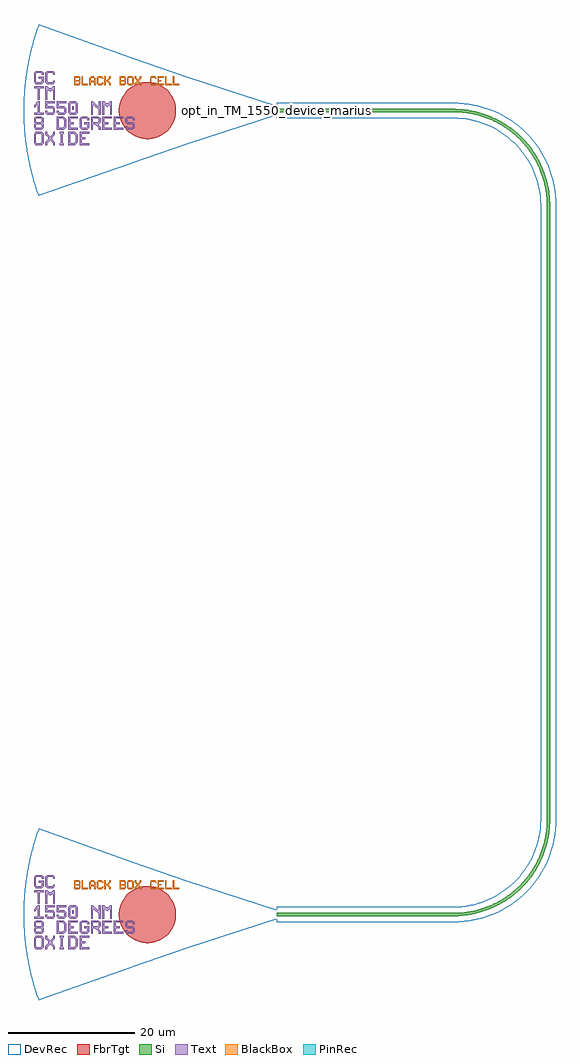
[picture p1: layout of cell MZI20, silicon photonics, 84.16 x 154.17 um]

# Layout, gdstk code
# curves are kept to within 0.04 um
import gdstk
lib = gdstk.Library(unit=1e-6, precision=1e-09)
def R(c, l, rs):  # rectangles x0, y0, x1, y1
    for r in rs: c.add(gdstk.rectangle(r[:2], r[2:], *l))
def P(c, l, *ps):  # polygons
    for p in ps: c.add(gdstk.Polygon(p, *l))
Si = (1, 0)
PinRec = (1, 10)
Text = (10, 0)
DevRec = (68, 0)
FbrTgt = (81, 0)
BlackBox = (998, 0)

text = lib.new_cell('TEXT')
P(text, BlackBox, [(0,0),(0,1.4),(0.8,1.4),(1,1.2),(0.2,1.2),(0.2,0.8),(0.7,0.8),(0.8,0.9),(0.8,1.1),(0.7,1.2),(1,1.2),(1,0.8),(0.9,0.7),(1,0.6),(0.2,0.6),(0.2,0.2),(0.7,0.2),(0.8,0.3),(0.8,0.5),(0.7,0.6),(1,0.6),(1,0.2),(0.8,0)],
  [(1.2,0),(1.2,1.4),(1.4,1.4),(1.4,0.2),(2.2,0.2),(2.2,0)],
  [(2.4,0),(2.4,1.1),(2.7,1.4),(3.1,1.4),(3.3,1.2),(2.8,1.2),(2.6,1),(2.6,0.7),(3.2,0.7),(3.2,1),(3,1.2),(3.3,1.2),(3.4,1.1),(3.4,0),(3.2,0),(3.2,0.5),(2.6,0.5),(2.6,0)],
  [(3.8,0),(3.6,0.2),(3.6,1.2),(3.8,1.4),(4.4,1.4),(4.6,1.2),(4.6,1),(4.4,1),(4.4,1.1),(4.3,1.2),(3.9,1.2),(3.8,1.1),(3.8,0.3),(3.9,0.2),(4.3,0.2),(4.4,0.3),(4.4,0.4),(4.6,0.4),(4.6,0.2),(4.4,0)],
  [(4.8,0),(4.8,1.4),(5,1.4),(5,0.8),(5.2,0.8),(5.6,1.2),(5.6,1.4),(5.8,1.4),(5.8,1.1),(5.4,0.7),(5.8,0.3),(5.8,0),(5.6,0),(5.6,0.2),(5.2,0.6),(5,0.6),(5,0)],
  [(7.2,0),(7.2,1.4),(8,1.4),(8.2,1.2),(7.4,1.2),(7.4,0.8),(7.9,0.8),(8,0.9),(8,1.1),(7.9,1.2),(8.2,1.2),(8.2,0.8),(8.1,0.7),(8.2,0.6),(7.4,0.6),(7.4,0.2),(7.9,0.2),(8,0.3),(8,0.5),(7.9,0.6),(8.2,0.6),(8.2,0.2),(8,0)],
  [(8.6,0),(8.4,0.2),(8.4,1.2),(8.6,1.4),(9.2,1.4),(9.4,1.2),(9.4,0.7),(9.2,0.7),(9.2,1.1),(9.1,1.2),(8.7,1.2),(8.6,1.1),(8.6,0.3),(8.7,0.2),(9.1,0.2),(9.2,0.3),(9.2,0.7),(9.4,0.7),(9.4,0.2),(9.2,0)],
  [(9.6,0),(9.6,0.3),(9.9,0.6),(9.9,0.8),(9.6,1.1),(9.6,1.4),(9.8,1.4),(9.8,1.2),(10.1,0.9),(10.4,1.2),(10.4,1.4),(10.6,1.4),(10.6,1.1),(10.3,0.8),(10.3,0.6),(10.6,0.3),(10.6,0),(10.4,0),(10.4,0.2),(10.1,0.5),(9.8,0.2),(9.8,0)],
  [(12.2,0),(12,0.2),(12,1.2),(12.2,1.4),(12.8,1.4),(13,1.2),(13,1),(12.8,1),(12.8,1.1),(12.7,1.2),(12.3,1.2),(12.2,1.1),(12.2,0.3),(12.3,0.2),(12.7,0.2),(12.8,0.3),(12.8,0.4),(13,0.4),(13,0.2),(12.8,0)],
  [(13.2,0),(13.2,1.4),(14.2,1.4),(14.2,1.2),(13.4,1.2),(13.4,0.8),(13.8,0.8),(13.8,0.6),(13.4,0.6),(13.4,0.2),(14.2,0.2),(14.2,0)],
  [(14.4,0),(14.4,1.4),(14.6,1.4),(14.6,0.2),(15.4,0.2),(15.4,0)],
  [(15.6,0),(15.6,1.4),(15.8,1.4),(15.8,0.2),(16.6,0.2),(16.6,0)])

gc_tm_1550_8degoxide_bb = lib.new_cell('GC_TM_1550_8degOxide_BB')
R(gc_tm_1550_8degoxide_bb, Text, [(-32.313,0.092,-32.013,0.692)])
P(gc_tm_1550_8degoxide_bb, Text, [(-37.713,1.742),(-37.713,3.542),(-38.313,3.542),(-38.313,3.842),(-36.813,3.842),(-36.813,3.542),(-37.413,3.542),(-37.413,1.742)],
  [(-38.013,-5.458),(-38.313,-5.158),(-38.313,-3.658),(-38.013,-3.358),(-37.113,-3.358),(-36.813,-3.658),(-36.813,-4.408),(-37.113,-4.408),(-37.113,-3.808),(-37.263,-3.658),(-37.863,-3.658),(-38.013,-3.808),(-38.013,-5.008),(-37.863,-5.158),(-37.263,-5.158),(-37.113,-5.008),(-37.113,-4.408),(-36.813,-4.408),(-36.813,-5.158),(-37.113,-5.458)],
  [(-31.113,-5.458),(-31.113,-3.358),(-29.613,-3.358),(-29.613,-3.658),(-30.813,-3.658),(-30.813,-4.258),(-30.213,-4.258),(-30.213,-4.558),(-30.813,-4.558),(-30.813,-5.158),(-29.613,-5.158),(-29.613,-5.458)],
  [(-32.913,-3.058),(-32.913,-0.958),(-31.413,-0.958),(-31.413,-1.258),(-32.613,-1.258),(-32.613,-1.858),(-32.013,-1.858),(-32.013,-2.158),(-32.613,-2.158),(-32.613,-2.758),(-31.413,-2.758),(-31.413,-3.058)],
  [(-27.513,-3.058),(-27.513,-0.958),(-26.013,-0.958),(-26.013,-1.258),(-27.213,-1.258),(-27.213,-1.858),(-26.613,-1.858),(-26.613,-2.158),(-27.213,-2.158),(-27.213,-2.758),(-26.013,-2.758),(-26.013,-3.058)],
  [(-25.713,-3.058),(-25.713,-0.958),(-24.213,-0.958),(-24.213,-1.258),(-25.413,-1.258),(-25.413,-1.858),(-24.813,-1.858),(-24.813,-2.158),(-25.413,-2.158),(-25.413,-2.758),(-24.213,-2.758),(-24.213,-3.058)],
  [(-29.313,-0.658),(-29.313,1.442),(-29.013,1.442),(-28.263,0.692),(-28.113,0.692),(-28.113,1.442),(-27.813,1.442),(-27.813,-0.658),(-28.113,-0.658),(-28.113,0.092),(-28.863,0.842),(-29.013,0.842),(-29.013,-0.658)],
  [(-34.263,-5.458),(-34.263,-5.158),(-34.113,-5.158),(-34.113,-3.658),(-34.263,-3.658),(-34.263,-3.358),(-33.663,-3.358),(-33.663,-3.658),(-33.813,-3.658),(-33.813,-5.158),(-33.663,-5.158),(-33.663,-5.458)],
  [(-36.213,4.142),(-36.513,4.442),(-36.513,5.942),(-36.213,6.242),(-35.313,6.242),(-35.013,5.942),(-35.013,5.642),(-35.313,5.642),(-35.313,5.792),(-35.463,5.942),(-36.063,5.942),(-36.213,5.792),(-36.213,4.592),(-36.063,4.442),(-35.463,4.442),(-35.313,4.592),(-35.313,4.742),(-35.013,4.742),(-35.013,4.442),(-35.313,4.142)],
  [(-27.513,-0.658),(-27.513,1.442),(-27.213,1.442),(-26.913,1.142),(-26.613,1.142),(-26.313,1.442),(-26.013,1.442),(-26.013,-0.658),(-26.313,-0.658),(-26.313,0.842),(-26.463,0.842),(-26.763,0.542),(-27.063,0.842),(-27.213,0.842),(-27.213,-0.658)],
  [(-36.513,1.742),(-36.513,3.842),(-36.213,3.842),(-35.913,3.542),(-35.613,3.542),(-35.313,3.842),(-35.013,3.842),(-35.013,1.742),(-35.313,1.742),(-35.313,3.242),(-35.463,3.242),(-35.763,2.942),(-36.063,3.242),(-36.213,3.242),(-36.213,1.742)],
  [(-32.613,-0.658),(-32.913,-0.358),(-32.913,1.142),(-32.613,1.442),(-31.713,1.442),(-31.413,1.142),(-32.463,1.142),(-32.613,0.992),(-32.613,-0.208),(-32.463,-0.358),(-31.863,-0.358),(-31.713,-0.208),(-31.713,0.992),(-31.863,1.142),(-31.413,1.142),(-31.413,-0.358),(-31.713,-0.658)],
  [(-32.913,-5.458),(-32.913,-3.358),(-31.863,-3.358),(-31.563,-3.658),(-32.613,-3.658),(-32.613,-5.158),(-32.013,-5.158),(-31.713,-4.858),(-31.713,-3.958),(-32.013,-3.658),(-31.563,-3.658),(-31.413,-3.808),(-31.413,-5.008),(-31.863,-5.458)],
  [(-34.713,-3.058),(-34.713,-0.958),(-33.663,-0.958),(-33.363,-1.258),(-34.413,-1.258),(-34.413,-2.758),(-33.813,-2.758),(-33.513,-2.458),(-33.513,-1.558),(-33.813,-1.258),(-33.363,-1.258),(-33.213,-1.408),(-33.213,-2.608),(-33.663,-3.058)],
  [(-23.613,-3.058),(-23.913,-2.758),(-23.913,-2.458),(-23.613,-2.458),(-23.613,-2.608),(-23.463,-2.758),(-22.863,-2.758),(-22.713,-2.608),(-22.713,-2.308),(-22.863,-2.158),(-23.613,-2.158),(-23.913,-1.858),(-23.913,-1.258),(-23.613,-0.958),(-22.713,-0.958),(-22.413,-1.258),(-22.413,-1.558),(-22.713,-1.558),(-22.713,-1.408),(-22.863,-1.258),(-23.463,-1.258),(-23.613,-1.408),(-23.613,-1.708),(-23.463,-1.858),(-22.713,-1.858),(-22.413,-2.158),(-22.413,-2.758),(-22.713,-3.058)],
  [(-36.213,-0.658),(-36.513,-0.358),(-36.513,-0.058),(-36.213,-0.058),(-36.213,-0.208),(-36.063,-0.358),(-35.463,-0.358),(-35.313,-0.208),(-35.313,0.242),(-35.463,0.392),(-36.513,0.392),(-36.513,1.442),(-35.013,1.442),(-35.013,1.142),(-36.213,1.142),(-36.213,0.692),(-35.313,0.692),(-35.013,0.392),(-35.013,-0.358),(-35.313,-0.658)],
  [(-34.413,-0.658),(-34.713,-0.358),(-34.713,-0.058),(-34.413,-0.058),(-34.413,-0.208),(-34.263,-0.358),(-33.663,-0.358),(-33.513,-0.208),(-33.513,0.242),(-33.663,0.392),(-34.713,0.392),(-34.713,1.442),(-33.213,1.442),(-33.213,1.142),(-34.413,1.142),(-34.413,0.692),(-33.513,0.692),(-33.213,0.392),(-33.213,-0.358),(-33.513,-0.658)],
  [(-38.013,-3.058),(-38.313,-2.758),(-38.313,-2.158),(-38.163,-2.008),(-38.313,-1.858),(-38.313,-1.258),(-38.013,-0.958),(-37.113,-0.958),(-36.813,-1.258),(-37.863,-1.258),(-38.013,-1.408),(-38.013,-1.708),(-37.863,-1.858),(-37.263,-1.858),(-37.113,-1.708),(-37.113,-1.408),(-37.263,-1.258),(-36.813,-1.258),(-36.813,-1.858),(-36.963,-2.008),(-36.813,-2.158),(-37.863,-2.158),(-38.013,-2.308),(-38.013,-2.608),(-37.863,-2.758),(-37.263,-2.758),(-37.113,-2.608),(-37.113,-2.308),(-37.263,-2.158),(-36.813,-2.158),(-36.813,-2.758),(-37.113,-3.058)],
  [(-38.313,-0.658),(-38.313,-0.358),(-37.713,-0.358),(-37.713,0.842),(-37.863,0.842),(-38.163,0.542),(-38.313,0.542),(-38.313,0.842),(-37.713,1.442),(-37.413,1.442),(-37.413,-0.358),(-36.813,-0.358),(-36.813,-0.658)],
  [(-36.513,-5.458),(-36.513,-5.008),(-36.063,-4.558),(-36.063,-4.258),(-36.513,-3.808),(-36.513,-3.358),(-36.213,-3.358),(-36.213,-3.658),(-35.763,-4.108),(-35.313,-3.658),(-35.313,-3.358),(-35.013,-3.358),(-35.013,-3.808),(-35.463,-4.258),(-35.463,-4.558),(-35.013,-5.008),(-35.013,-5.458),(-35.313,-5.458),(-35.313,-5.158),(-35.763,-4.708),(-36.213,-5.158),(-36.213,-5.458)],
  [(-30.813,-3.058),(-31.113,-2.758),(-31.113,-1.258),(-30.813,-0.958),(-29.913,-0.958),(-29.613,-1.258),(-29.613,-1.558),(-29.913,-1.558),(-29.913,-1.408),(-30.063,-1.258),(-30.663,-1.258),(-30.813,-1.408),(-30.813,-2.608),(-30.663,-2.758),(-30.063,-2.758),(-29.913,-2.608),(-29.913,-2.158),(-30.363,-2.158),(-30.363,-1.858),(-29.613,-1.858),(-29.613,-2.758),(-29.913,-3.058)],
  [(-38.013,4.142),(-38.313,4.442),(-38.313,5.942),(-38.013,6.242),(-37.113,6.242),(-36.813,5.942),(-36.813,5.642),(-37.113,5.642),(-37.113,5.792),(-37.263,5.942),(-37.863,5.942),(-38.013,5.792),(-38.013,4.592),(-37.863,4.442),(-37.263,4.442),(-37.113,4.592),(-37.113,5.042),(-37.563,5.042),(-37.563,5.342),(-36.813,5.342),(-36.813,4.442),(-37.113,4.142)],
  [(-29.313,-3.058),(-29.313,-0.958),(-28.113,-0.958),(-27.813,-1.258),(-29.013,-1.258),(-29.013,-1.858),(-28.263,-1.858),(-28.113,-1.708),(-28.113,-1.408),(-28.263,-1.258),(-27.813,-1.258),(-27.813,-1.858),(-28.113,-2.158),(-28.113,-2.308),(-27.813,-2.608),(-27.813,-3.058),(-28.113,-3.058),(-28.113,-2.758),(-28.713,-2.158),(-29.013,-2.158),(-29.013,-3.058)])
P(gc_tm_1550_8degoxide_bb, DevRec, [(-37.607,-13.5),(-38.627,-10.245),(-39.378,-6.832),(-39.647,-5.058),(-39.835,-3.274),(-39.969,0.224),(-39.812,3.541),(-39.331,7.097),(-38.557,10.505),(-37.546,13.669),(-22.8,8.353),(-14.109,5.36),(0,0.75),(0,-0.75),(-14.109,-5.36)])
P(gc_tm_1550_8degoxide_bb, FbrTgt, [(-20.621,-4.5),(-21.495,-4.37),(-22.326,-4.073),(-23.084,-3.619),(-23.738,-3.026),(-24.264,-2.316),(-24.642,-1.518),(-24.857,-0.661),(-24.9,0.221),(-24.77,1.095),(-24.473,1.926),(-24.019,2.684),(-23.426,3.338),(-22.716,3.864),(-21.918,4.242),(-21.061,4.457),(-20.179,4.5),(-19.305,4.37),(-18.474,4.073),(-17.716,3.619),(-17.062,3.026),(-16.536,2.316),(-16.158,1.518),(-15.943,0.661),(-15.9,-0.221),(-16.03,-1.095),(-16.327,-1.926),(-16.781,-2.684),(-17.374,-3.338),(-18.084,-3.864),(-18.882,-4.242),(-19.739,-4.457)])
gc_tm_1550_8degoxide_bb.add(gdstk.FlexPath([(-0.01,0),(0.01,0)], 0.5, ends="flush", simple_path=True, layer=1, datatype=10))  # PinRec
gc_tm_1550_8degoxide_bb.add(gdstk.Reference(text, (-32,4)))
gc_tm_1550_8degoxide_bb.add(gdstk.Label('opt1', (0,0), layer=1, texttype=10))
gc_tm_1550_8degoxide_bb.add(gdstk.Label('Component=GC_TM_1550_8degOxide_BB', (-28,-5), layer=68, texttype=0))

waveguide_1 = lib.new_cell('Waveguide$1')
P(waveguide_1, Si, [(39.969,13.25),(39.969,13.75),(68.153,13.752),(70.076,13.909),(71.729,14.252),(73.556,14.873),(75.287,15.727),(76.891,16.798),(78.342,18.07),(79.614,19.521),(80.309,20.507),(80.805,21.336),(81.63,23.079),(82.219,24.916),(82.566,26.815),(82.662,28.5),(82.662,125.5),(82.613,126.706),(82.424,128.14),(82.16,129.317),(81.717,130.696),(81.033,132.24),(80.04,133.895),(79.002,135.225),(77.637,136.59),(76.307,137.628),(74.652,138.621),(73.108,139.305),(71.261,139.865),(69.597,140.154),(68.153,140.248),(39.969,140.25),(39.969,140.75),(68.161,140.748),(69.903,140.62),(71.618,140.293),(72.815,139.941),(73.748,139.589),(74.88,139.065),(75.752,138.581),(76.795,137.896),(77.778,137.129),(78.696,136.284),(79.378,135.555),(80.161,134.584),(80.862,133.553),(81.477,132.468),(81.903,131.565),(82.353,130.403),(82.705,129.206),(82.959,127.984),(83.089,126.994),(83.162,125.5),(83.162,28.5),(83.032,26.509),(82.705,24.794),(82.353,23.597),(82.001,22.664),(81.119,20.875),(80.01,19.217),(78.696,17.716),(77.195,16.402),(75.537,15.293),(73.748,14.411),(71.859,13.77),(69.903,13.38),(68.161,13.252)])
P(waveguide_1, DevRec, [(39.969,12.25),(39.969,14.75),(67.911,14.75),(69.93,14.898),(71.903,15.342),(73.791,16.07),(74.981,16.706),(76.635,17.871),(77.635,18.777),(78.541,19.777),(79.706,21.431),(80.615,23.238),(81.25,25.159),(81.514,26.482),(81.662,28.5),(81.662,125.5),(81.514,127.518),(81.25,128.841),(80.858,130.132),(80.342,131.379),(79.345,133.139),(78.099,134.734),(76.635,136.129),(74.981,137.294),(73.791,137.93),(71.903,138.658),(70.594,138.986),(69.26,139.184),(67.911,139.25),(39.969,139.25),(39.969,141.75),(67.913,141.75),(69.504,141.672),(71.861,141.262),(74.13,140.513),(76.267,139.438),(78.221,138.061),(79.403,136.991),(79.953,136.412),(81.423,134.529),(82.602,132.447),(83.462,130.217),(83.85,128.67),(84.084,127.092),(84.162,125.5),(84.162,28.5),(84.084,26.908),(83.674,24.551),(83.212,23.026),(82.244,20.84),(80.964,18.82),(79.403,17.009),(77.592,15.448),(76.267,14.562),(74.859,13.81),(72.629,12.95),(70.296,12.426),(67.913,12.25)])
waveguide_1.add(gdstk.FlexPath([(39.979,140.5),(39.959,140.5)], 0.5, ends="flush", simple_path=True, layer=1, datatype=10))  # PinRec
waveguide_1.add(gdstk.FlexPath([(39.979,13.5),(39.959,13.5)], 0.5, ends="flush", simple_path=True, layer=1, datatype=10))  # PinRec
waveguide_1.add(gdstk.Label('opt1', (39.969,140.5), layer=1, texttype=10))
waveguide_1.add(gdstk.Label('opt2', (39.969,13.5), layer=1, texttype=10))
waveguide_1.add(gdstk.Label('Lumerical_INTERCONNECT_library=Design kits/EBeam', (39.969,140.4), layer=68, texttype=0))
waveguide_1.add(gdstk.Label('Component=ebeam_wg_integral_1550', (39.969,140.6), layer=68, texttype=0))
waveguide_1.add(gdstk.Label('cellName=Waveguide2', (39.969,140.7), layer=68, texttype=0))
waveguide_1.add(gdstk.Label('Spice_param:wg_length=0.000200001 wg_width=5e-07 points="[[39.969,140.5],[82.912,140.5],[82.912,13.5],[39.969,13.5]]" radius=1.5e-05', (39.969,140.5), layer=68, texttype=0))
waveguide_1.add(gdstk.Label('Length=200.001 (microns)', (39.969,139.9), layer=68, texttype=0))

mzi20 = lib.new_cell('MZI20')
r = gdstk.Reference(gc_tm_1550_8degoxide_bb, (39.969,13.5)); r.repetition = gdstk.Repetition(1, 2, v1=(0,0), v2=(0,127)); mzi20.add(r)
mzi20.add(gdstk.Reference(waveguide_1, (0,0)))
mzi20.add(gdstk.Label('opt_in_TM_1550_device_mariusminnen_MZI20', (39.979,140.5), layer=10, texttype=0))

lib.write_gds('MZI20.gds')
